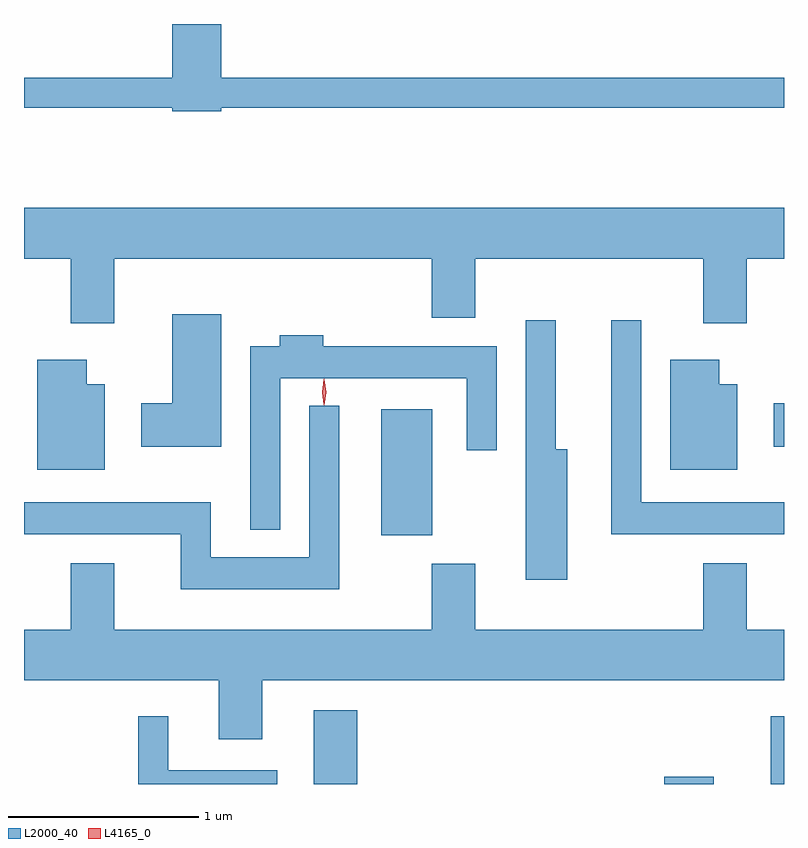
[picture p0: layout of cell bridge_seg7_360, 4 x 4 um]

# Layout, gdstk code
import gdstk
lib = gdstk.Library(unit=1e-6, precision=1e-09)
def R(c, l, rs):  # rectangles x0, y0, x1, y1
    for r in rs: c.add(gdstk.rectangle(r[:2], r[2:], *l))
def P(c, l, *ps):  # polygons
    for p in ps: c.add(gdstk.Polygon(p, *l))
L2000_40 = (2000, 40)
L4165_0 = (4165, 0)

bridge_seg7_360 = lib.new_cell('bridge_seg7_360')
R(bridge_seg7_360, L2000_40, [(1205.021,1762.611,1205.249,1762.999), (1206.866,1762.611,1207.124,1762.649), (1207.426,1762.611,1207.495,1762.968), (1205.376,1763.921,1205.644,1764.584), (1207.441,1764.386,1207.495,1764.614)])
P(bridge_seg7_360, L2000_40, [(1204.534,1766.171),(1207.495,1766.171),(1207.495,1766.329),(1204.534,1766.329),(1204.534,1766.611),(1204.276,1766.611),(1204.276,1766.329),(1203.495,1766.329),(1203.495,1766.171),(1204.276,1766.171),(1204.276,1766.151),(1204.534,1766.151)],
  [(1203.969,1765.376),(1205.641,1765.376),(1205.641,1765.066),(1205.869,1765.066),(1205.869,1765.376),(1207.071,1765.376),(1207.071,1765.036),(1207.299,1765.036),(1207.299,1765.376),(1207.495,1765.376),(1207.495,1765.644),(1203.495,1765.644),(1203.495,1765.376),(1203.741,1765.376),(1203.741,1765.036),(1203.969,1765.036)],
  [(1204.534,1765.084),(1204.276,1765.084),(1204.276,1764.614),(1204.111,1764.614),(1204.111,1764.386),(1204.534,1764.386)],
  [(1206.354,1764.374),(1206.294,1764.374),(1206.294,1765.053),(1206.136,1765.053),(1206.136,1763.686),(1206.354,1763.686)],
  [(1207.495,1764.094),(1206.744,1764.094),(1206.744,1765.053),(1206.586,1765.053),(1206.586,1763.926),(1207.495,1763.926)],
  [(1204.844,1764.746),(1205.826,1764.746),(1205.826,1764.368),(1205.984,1764.368),(1205.984,1764.914),(1205.069,1764.914),(1205.069,1764.974),(1204.841,1764.974),(1204.841,1764.914),(1204.686,1764.914),(1204.686,1763.948),(1204.844,1763.948)],
  [(1207.249,1764.714),(1207.154,1764.714),(1207.154,1764.844),(1206.896,1764.844),(1206.896,1764.266),(1207.249,1764.266)],
  [(1203.919,1764.714),(1203.824,1764.714),(1203.824,1764.844),(1203.566,1764.844),(1203.566,1764.266),(1203.919,1764.266)],
  [(1205.154,1764.603),(1204.996,1764.603),(1204.996,1763.804),(1204.479,1763.804),(1204.479,1764.094),(1203.495,1764.094),(1203.495,1763.926),(1204.321,1763.926),(1204.321,1763.636),(1205.154,1763.636)],
  [(1204.749,1763.156),(1207.495,1763.156),(1207.495,1763.424),(1207.299,1763.424),(1207.299,1763.774),(1207.071,1763.774),(1207.071,1763.424),(1205.869,1763.424),(1205.869,1763.769),(1205.641,1763.769),(1205.641,1763.424),(1203.969,1763.424),(1203.969,1763.774),(1203.741,1763.774),(1203.741,1763.424),(1203.495,1763.424),(1203.495,1763.156),(1204.521,1763.156),(1204.521,1762.846),(1204.749,1762.846)],
  [(1204.829,1762.684),(1204.254,1762.684),(1204.254,1762.968),(1204.096,1762.968),(1204.096,1762.611),(1204.829,1762.611)])
P(bridge_seg7_360, L4165_0, [(1205.074,1764.604),(1205.065,1764.673),(1205.074,1764.742),(1205.074,1764.743),(1205.075,1764.742),(1205.085,1764.673),(1205.075,1764.604),(1205.075,1764.604)],
  [(1205.073,1764.607),(1205.064,1764.674),(1205.073,1764.74),(1205.074,1764.741),(1205.074,1764.74),(1205.084,1764.674),(1205.074,1764.607),(1205.074,1764.607)])

lib.write_gds('bridge_seg7_360.gds')
